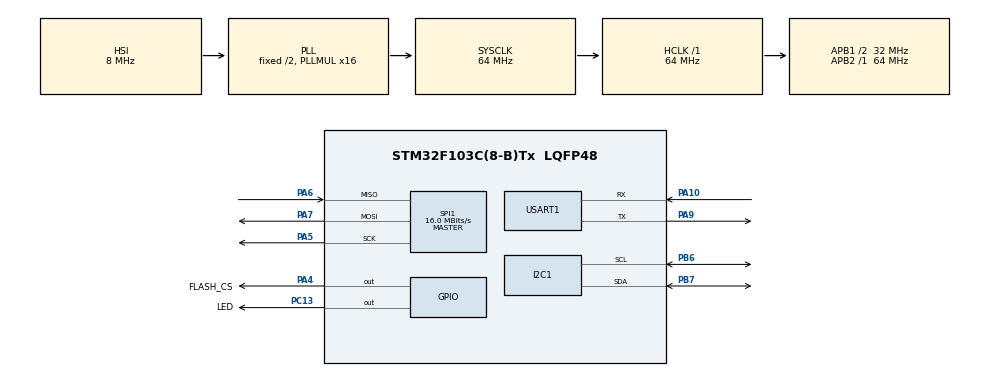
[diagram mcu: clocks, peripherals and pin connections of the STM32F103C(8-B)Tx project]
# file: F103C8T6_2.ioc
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Mcu.Family=STM32F1
Mcu.Name=STM32F103C(8-B)Tx
Mcu.Package=LQFP48
NVIC.PriorityGroup=NVIC_PRIORITYGROUP_4
PA10.Mode=Asynchronous
PA10.Signal=USART1_RX
PA13.Mode=Serial_Wire
PA13.Signal=SYS_JTMS-SWDIO
PA14.Mode=Serial_Wire
PA14.Signal=SYS_JTCK-SWCLK
PA4.GPIO_Label=FLASH_CS
PA4.Signal=GPIO_Output
PA5.Mode=Full_Duplex_Master
PA5.Signal=SPI1_SCK
PA6.Mode=Full_Duplex_Master
PA6.Signal=SPI1_MISO
PA7.Mode=Full_Duplex_Master
PA7.Signal=SPI1_MOSI
PA9.Mode=Asynchronous
PA9.Signal=USART1_TX
PB6.Mode=I2C
PB6.Signal=I2C1_SCL
PB7.Mode=I2C
PB7.Signal=I2C1_SDA
PC13-TAMPER-RTC.GPIO_Label=LED
PC13-TAMPER-RTC.Signal=GPIO_Output
ProjectManager.HeapSize=0x200
ProjectManager.StackSize=0x400
ProjectManager.TargetToolchain=STM32CubeIDE
RCC.AHBFreq_Value=64000000
RCC.APB1CLKDivider=RCC_HCLK_DIV2
RCC.APB1Freq_Value=32000000
RCC.APB1TimFreq_Value=64000000
RCC.APB2Freq_Value=64000000
RCC.APB2TimFreq_Value=64000000
RCC.HCLKFreq_Value=64000000
RCC.PLLMUL=RCC_PLL_MUL16
RCC.SYSCLKFreq_VALUE=64000000
RCC.SYSCLKSource=RCC_SYSCLKSOURCE_PLLCLK
RCC.USBFreq_Value=64000000
SPI1.BaudRatePrescaler=SPI_BAUDRATEPRESCALER_4
SPI1.CalculateBaudRate=16.0 MBits/s
SPI1.Direction=SPI_DIRECTION_2LINES
SPI1.Mode=SPI_MODE_MASTER
SPI1.VirtualType=VM_MASTER
USART1.VirtualMode=VM_ASYNC
board=custom

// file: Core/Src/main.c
/* USER CODE BEGIN Header */
/**
  ******************************************************************************
  * @file           : main.c
  * @brief          : Main program body
  ******************************************************************************
  * @attention
  *
  * Copyright (c) 2023 STMicroelectronics.
  * All rights reserved.
  *
  * This software is licensed under terms that can be found in the LICENSE file
  * in the root directory of this software component.
  * If no LICENSE file comes with this software, it is provided AS-IS.
  *
  ******************************************************************************
  */
/* USER CODE END Header */
#include "main.h"

/* USER CODE BEGIN Includes */
#include "string.h"
#include "w25qxx.h"
#include "dummy_data.h"
/* USER CODE END Includes */

I2C_HandleTypeDef hi2c1;

SPI_HandleTypeDef hspi1;

UART_HandleTypeDef huart1;

/* USER CODE BEGIN PV */
uint8_t buffer[4096] = {0};
bool initRes = false;
uint8_t i2c_buf[1] = {1};
/* USER CODE END PV */

void SystemClock_Config(void);
static void MX_GPIO_Init(void);
static void MX_SPI1_Init(void);
static void MX_USART1_UART_Init(void);
static void MX_I2C1_Init(void);

/* USER CODE BEGIN 0 */
void serialPrint(char *string){
	uint8_t len = strlen(string);
	HAL_UART_Transmit(&huart1, (uint8_t *)string, len, 2000);
}

void blink(int delayOn, int delayOff){
	serialPrint("LED ON\n\r");
	HAL_GPIO_WritePin(LED_GPIO_Port, LED_Pin, GPIO_PIN_RESET);
	HAL_Delay(delayOn);

	serialPrint("LED OFF\n\r");
	HAL_GPIO_WritePin(LED_GPIO_Port, LED_Pin, GPIO_PIN_SET);
	HAL_Delay(delayOff);
}
/* USER CODE END 0 */

int main(void)
{

  /* MCU Configuration--------------------------------------------------------*/

  /* Reset of all peripherals, Initializes the Flash interface and the Systick. */
  HAL_Init();

  /* Configure the system clock */
  SystemClock_Config();

  /* Initialize all configured peripherals */
  MX_GPIO_Init();
  MX_SPI1_Init();
  MX_USART1_UART_Init();
  MX_I2C1_Init();
  /* USER CODE BEGIN 2 */
  W25qxx_Init();

  HAL_I2C_Slave_Transmit(&hi2c1, i2c_buf, 1, HAL_MAX_DELAY);
  while(!W25qxx_Init()){
	  initRes = false;
  }
  initRes = true;

  W25qxx_ReadSector(buffer, 3, 0, 4096);
  W25qxx_EraseSector(3);
  W25qxx_ReadSector(buffer, 3, 0, 4096);
  W25qxx_WriteSector(dummy1, 3, 0, 4096);
  W25qxx_ReadSector(buffer, 3, 0, 4096);
  /* USER CODE END 2 */

  /* Infinite loop */
  while (1)
  {

  }
}

void SystemClock_Config(void)
{
  RCC_OscInitTypeDef RCC_OscInitStruct = {0};
  RCC_ClkInitTypeDef RCC_ClkInitStruct = {0};

  /** Initializes the RCC Oscillators according to the specified parameters
  * in the RCC_OscInitTypeDef structure.
  */
  RCC_OscInitStruct.OscillatorType = RCC_OSCILLATORTYPE_HSI;
  RCC_OscInitStruct.HSIState = RCC_HSI_ON;
  RCC_OscInitStruct.HSICalibrationValue = RCC_HSICALIBRATION_DEFAULT;
  RCC_OscInitStruct.PLL.PLLState = RCC_PLL_ON;
  RCC_OscInitStruct.PLL.PLLSource = RCC_PLLSOURCE_HSI_DIV2;
  RCC_OscInitStruct.PLL.PLLMUL = RCC_PLL_MUL16;
  if (HAL_RCC_OscConfig(&RCC_OscInitStruct) != HAL_OK)
  {
    Error_Handler();
  }

  /** Initializes the CPU, AHB and APB buses clocks
  */
  RCC_ClkInitStruct.ClockType = RCC_CLOCKTYPE_HCLK|RCC_CLOCKTYPE_SYSCLK
                              |RCC_CLOCKTYPE_PCLK1|RCC_CLOCKTYPE_PCLK2;
  RCC_ClkInitStruct.SYSCLKSource = RCC_SYSCLKSOURCE_PLLCLK;
  RCC_ClkInitStruct.AHBCLKDivider = RCC_SYSCLK_DIV1;
  RCC_ClkInitStruct.APB1CLKDivider = RCC_HCLK_DIV2;
  RCC_ClkInitStruct.APB2CLKDivider = RCC_HCLK_DIV1;

  if (HAL_RCC_ClockConfig(&RCC_ClkInitStruct, FLASH_LATENCY_2) != HAL_OK)
  {
    Error_Handler();
  }
}

static void MX_I2C1_Init(void)
{

  hi2c1.Instance = I2C1;
  hi2c1.Init.ClockSpeed = 100000;
  hi2c1.Init.DutyCycle = I2C_DUTYCYCLE_2;
  hi2c1.Init.OwnAddress1 = 92;
  hi2c1.Init.AddressingMode = I2C_ADDRESSINGMODE_7BIT;
  hi2c1.Init.DualAddressMode = I2C_DUALADDRESS_DISABLE;
  hi2c1.Init.OwnAddress2 = 0;
  hi2c1.Init.GeneralCallMode = I2C_GENERALCALL_DISABLE;
  hi2c1.Init.NoStretchMode = I2C_NOSTRETCH_DISABLE;
  if (HAL_I2C_Init(&hi2c1) != HAL_OK)
  {
    Error_Handler();
  }

}

static void MX_SPI1_Init(void)
{

  /* SPI1 parameter configuration*/
  hspi1.Instance = SPI1;
  hspi1.Init.Mode = SPI_MODE_MASTER;
  hspi1.Init.Direction = SPI_DIRECTION_2LINES;
  hspi1.Init.DataSize = SPI_DATASIZE_8BIT;
  hspi1.Init.CLKPolarity = SPI_POLARITY_LOW;
  hspi1.Init.CLKPhase = SPI_PHASE_1EDGE;
  hspi1.Init.NSS = SPI_NSS_SOFT;
  hspi1.Init.BaudRatePrescaler = SPI_BAUDRATEPRESCALER_4;
  hspi1.Init.FirstBit = SPI_FIRSTBIT_MSB;
  hspi1.Init.TIMode = SPI_TIMODE_DISABLE;
  hspi1.Init.CRCCalculation = SPI_CRCCALCULATION_DISABLE;
  hspi1.Init.CRCPolynomial = 10;
  if (HAL_SPI_Init(&hspi1) != HAL_OK)
  {
    Error_Handler();
  }

}

static void MX_USART1_UART_Init(void)
{

  huart1.Instance = USART1;
  huart1.Init.BaudRate = 115200;
  huart1.Init.WordLength = UART_WORDLENGTH_8B;
  huart1.Init.StopBits = UART_STOPBITS_1;
  huart1.Init.Parity = UART_PARITY_NONE;
  huart1.Init.Mode = UART_MODE_TX_RX;
  huart1.Init.HwFlowCtl = UART_HWCONTROL_NONE;
  huart1.Init.OverSampling = UART_OVERSAMPLING_16;
  if (HAL_UART_Init(&huart1) != HAL_OK)
  {
    Error_Handler();
  }

}

static void MX_GPIO_Init(void)
{
  GPIO_InitTypeDef GPIO_InitStruct = {0};

  /* GPIO Ports Clock Enable */
  __HAL_RCC_GPIOC_CLK_ENABLE();
  __HAL_RCC_GPIOA_CLK_ENABLE();
  __HAL_RCC_GPIOB_CLK_ENABLE();

  /*Configure GPIO pin Output Level */
  HAL_GPIO_WritePin(LED_GPIO_Port, LED_Pin, GPIO_PIN_RESET);

  /*Configure GPIO pin Output Level */
  HAL_GPIO_WritePin(FLASH_CS_GPIO_Port, FLASH_CS_Pin, GPIO_PIN_RESET);

  /*Configure GPIO pin : LED_Pin */
  GPIO_InitStruct.Pin = LED_Pin;
  GPIO_InitStruct.Mode = GPIO_MODE_OUTPUT_PP;
  GPIO_InitStruct.Pull = GPIO_NOPULL;
  GPIO_InitStruct.Speed = GPIO_SPEED_FREQ_LOW;
  HAL_GPIO_Init(LED_GPIO_Port, &GPIO_InitStruct);

  /*Configure GPIO pin : FLASH_CS_Pin */
  GPIO_InitStruct.Pin = FLASH_CS_Pin;
  GPIO_InitStruct.Mode = GPIO_MODE_OUTPUT_PP;
  GPIO_InitStruct.Pull = GPIO_NOPULL;
  GPIO_InitStruct.Speed = GPIO_SPEED_FREQ_LOW;
  HAL_GPIO_Init(FLASH_CS_GPIO_Port, &GPIO_InitStruct);

}

void Error_Handler(void)
{
  __disable_irq();
  while (1)
  {
  }
}
